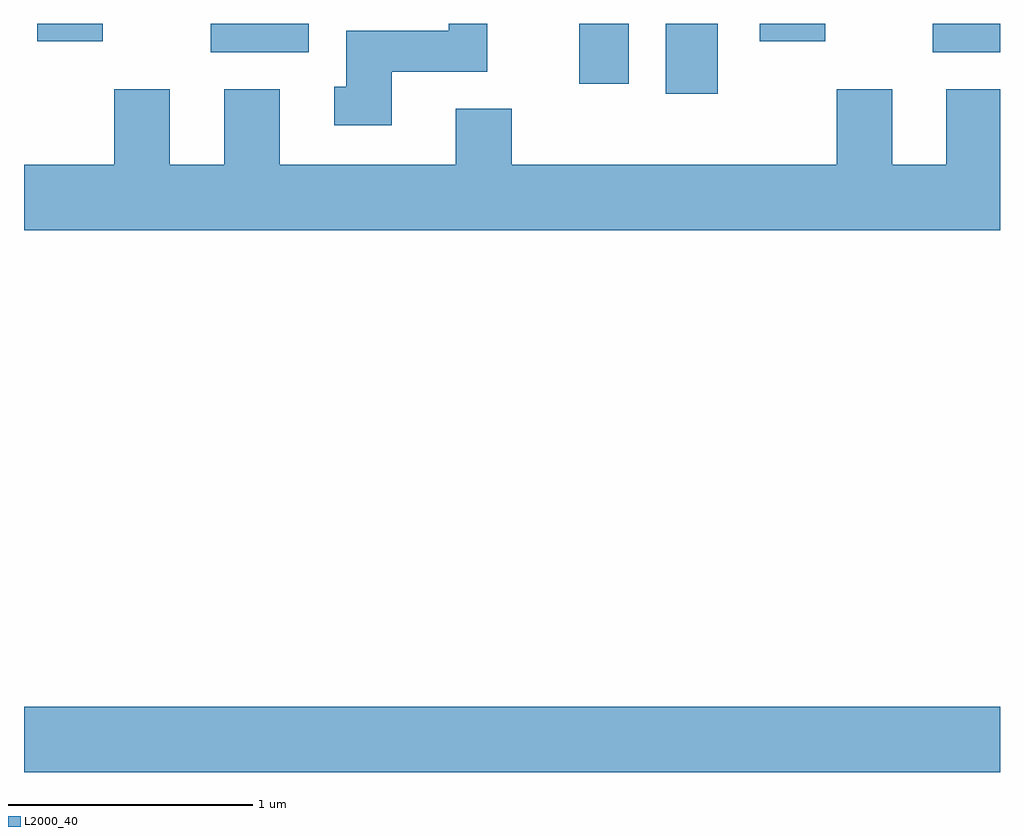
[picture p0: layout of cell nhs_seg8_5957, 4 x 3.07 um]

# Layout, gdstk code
import gdstk
lib = gdstk.Library(unit=1e-6, precision=1e-09)
def R(c, l, rs):  # rectangles x0, y0, x1, y1
    for r in rs: c.add(gdstk.rectangle(r[:2], r[2:], *l))
def P(c, l, *ps):  # polygons
    for p in ps: c.add(gdstk.Polygon(p, *l))
L2000_40 = (2000, 40)

nhs_seg8_5957 = lib.new_cell('nhs_seg8_5957')
R(nhs_seg8_5957, L2000_40, [(363.611,1865.276,367.611,1865.544), (366.241,1868.056,366.454,1868.342), (365.886,1868.096,366.089,1868.342), (364.376,1868.226,364.779,1868.342), (367.336,1868.226,367.611,1868.342), (363.666,1868.271,363.934,1868.342), (366.626,1868.271,366.894,1868.342)])
P(nhs_seg8_5957, L2000_40, [(365.119,1868.146),(365.509,1868.146),(365.509,1868.342),(365.351,1868.342),(365.351,1868.314),(364.931,1868.314),(364.931,1868.084),(364.883,1868.084),(364.883,1867.926),(365.119,1867.926)],
  [(367.611,1868.074),(367.391,1868.074),(367.391,1867.764),(367.169,1867.764),(367.169,1868.074),(366.941,1868.074),(366.941,1867.764),(365.609,1867.764),(365.609,1867.994),(365.381,1867.994),(365.381,1867.764),(364.659,1867.764),(364.659,1868.074),(364.431,1868.074),(364.431,1867.764),(364.209,1867.764),(364.209,1868.074),(363.981,1868.074),(363.981,1867.764),(363.611,1867.764),(363.611,1867.496),(367.611,1867.496)])

lib.write_gds('nhs_seg8_5957.gds')
